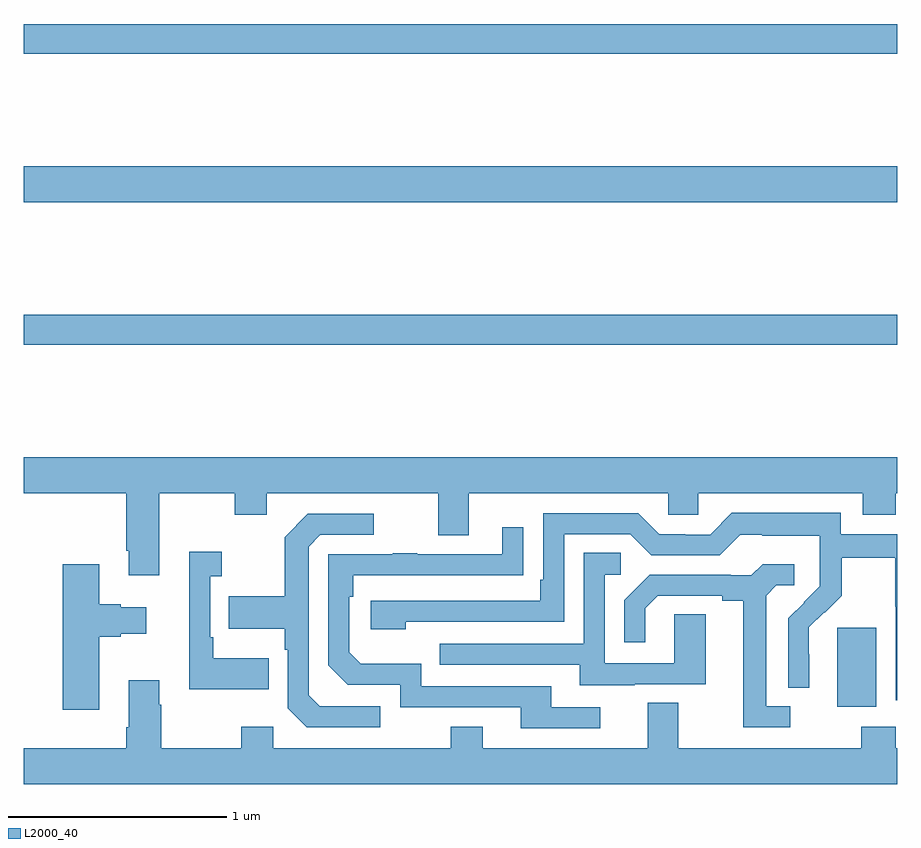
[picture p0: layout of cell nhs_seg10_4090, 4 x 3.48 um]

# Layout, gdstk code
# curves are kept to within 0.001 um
import gdstk
lib = gdstk.Library(unit=1e-6, precision=1e-09)
def R(c, l, rs):  # rectangles x0, y0, x1, y1
    for r in rs: c.add(gdstk.rectangle(r[:2], r[2:], *l))
def P(c, l, *ps):  # polygons
    for p in ps: c.add(gdstk.Polygon(p, *l))
L2000_40 = (2000, 40)

nhs_seg10_4090 = lib.new_cell('nhs_seg10_4090')
R(nhs_seg10_4090, L2000_40, [(340.724,1323.314,340.903,1323.675), (337,1324.972,341,1325.108), (337,1325.624,341,1325.788), (337,1326.304,341,1326.44)])
P(nhs_seg10_4090, L2000_40, [(337.621,1324.292),(337.966,1324.292),(337.966,1324.193),(338.113,1324.193),(338.113,1324.292),(338.897,1324.292),(338.897,1324.098),(339.037,1324.098),(339.037,1324.292),(339.951,1324.292),(339.951,1324.194),(340.089,1324.194),(340.089,1324.292),(340.841,1324.292),(340.841,1324.193),(340.994,1324.193),(340.994,1324.292),(341,1324.292),(341,1324.456),(337,1324.456),(337,1324.292),(337.469,1324.292),(337.469,1324.027),(337.481,1324.027),(337.481,1323.915),(337.621,1323.915)],
  [(341,1324.104),(340.74,1324.104),(340.74,1324.201),(340.243,1324.201),(340.143,1324.101),(340.028,1324.101),(340.028,1324.104),(339.909,1324.104),(339.813,1324.2),(339.378,1324.2),(339.378,1323.895),(339.365,1323.895),(339.365,1323.798),(338.589,1323.798),(338.589,1323.668),(338.75,1323.668),(338.75,1323.702),(339.474,1323.702),(339.474,1324.104),(339.777,1324.104),(339.873,1324.008),(340.188,1324.008),(340.281,1324.101),(340.381,1324.101),(340.381,1324.097),(340.644,1324.097),(340.644,1323.963),(340.646,1323.963),(340.646,1323.866),(340.5,1323.718),(340.5,1323.4),(340.596,1323.4),(340.595,1323.677),(340.665,1323.747),(340.668,1323.744),(340.745,1323.821),(340.745,1323.996),(340.99,1323.996),(340.99,1323.772),(340.992,1323.772),(340.992,1323.343),(341,1323.343)],
  [(338.632,1323.315),(338.355,1323.315),(338.304,1323.366),(338.304,1324.047),(338.358,1324.101),(338.602,1324.101),(338.602,1324.197),(338.301,1324.197),(338.196,1324.091),(338.196,1323.819),(337.939,1323.819),(337.939,1323.671),(338.196,1323.671),(338.196,1323.575),(338.208,1323.575),(338.208,1323.306),(338.295,1323.219),(338.632,1323.219)],
  [(339.64,1323.312),(339.415,1323.312),(339.415,1323.408),(338.82,1323.408),(338.82,1323.511),(338.543,1323.511),(338.49,1323.564),(338.49,1323.818),(338.51,1323.818),(338.51,1323.915),(339.287,1323.916),(339.287,1324.135),(339.191,1324.135),(339.191,1324.011),(338.801,1324.011),(338.801,1324.016),(338.689,1324.016),(338.689,1324.011),(338.394,1324.011),(338.394,1323.504),(338.484,1323.414),(338.724,1323.414),(338.724,1323.312),(339.275,1323.312),(339.275,1323.216),(339.64,1323.216)],
  [(338.123,1323.535),(337.867,1323.535),(337.867,1323.631),(337.854,1323.631),(337.854,1323.911),(337.906,1323.911),(337.906,1324.024),(337.757,1324.024),(337.757,1323.395),(338.123,1323.395)],
  [(339.799,1323.417),(340.123,1323.417),(340.123,1323.737),(339.978,1323.737),(339.978,1323.513),(339.66,1323.513),(339.66,1323.918),(339.733,1323.918),(339.733,1324.019),(339.564,1324.019),(339.564,1323.603),(338.905,1323.603),(338.905,1323.507),(339.545,1323.507),(339.545,1323.413),(339.799,1323.413)],
  [(340.51,1323.315),(340.399,1323.315),(340.399,1323.823),(340.446,1323.87),(340.528,1323.87),(340.528,1323.967),(340.384,1323.967),(340.332,1323.915),(340.238,1323.915),(340.238,1323.918),(339.866,1323.918),(339.75,1323.802),(339.75,1323.609),(339.847,1323.609),(339.847,1323.765),(339.904,1323.822),(340.199,1323.822),(340.199,1323.8),(340.295,1323.8),(340.295,1323.219),(340.51,1323.219)],
  [(337.345,1323.635),(337.445,1323.635),(337.445,1323.647),(337.561,1323.647),(337.561,1323.769),(337.445,1323.769),(337.445,1323.782),(337.345,1323.782),(337.345,1323.967),(337.178,1323.967),(337.178,1323.3),(337.345,1323.3)],
  [(341,1323.124),(340.994,1323.124),(340.994,1323.223),(340.834,1323.223),(340.834,1323.124),(339.997,1323.124),(339.997,1323.332),(339.857,1323.332),(339.857,1323.124),(339.103,1323.124),(339.103,1323.223),(338.956,1323.223),(338.956,1323.124),(338.142,1323.124),(338.142,1323.223),(337.996,1323.223),(337.996,1323.124),(337.629,1323.124),(337.629,1323.323),(337.621,1323.323),(337.621,1323.436),(337.481,1323.436),(337.481,1323.22),(337.469,1323.22),(337.469,1323.124),(337,1323.124),(337,1322.96),(341,1322.96)])

lib.write_gds('nhs_seg10_4090.gds')
